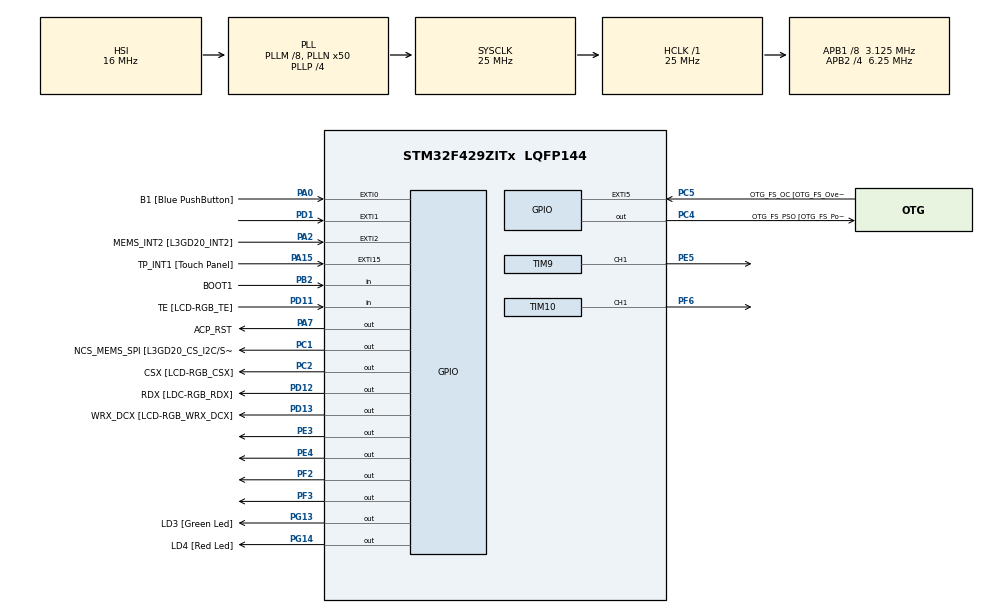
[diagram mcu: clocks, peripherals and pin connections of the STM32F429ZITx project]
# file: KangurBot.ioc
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Mcu.Family=STM32F4
Mcu.Name=STM32F429ZITx
Mcu.Package=LQFP144
NVIC.EXTI1_IRQn=true\:0\:0\:false\:false\:true\:true\:true
NVIC.PriorityGroup=NVIC_PRIORITYGROUP_0
PA0/WKUP.GPIO_Label=B1 [Blue PushButton]
PA0/WKUP.GPIO_ModeDefaultEXTI=GPIO_MODE_EVT_RISING
PA0/WKUP.GPIO_PuPd=GPIO_NOPULL
PA0/WKUP.Signal=GPXTI0
PA10.GPIO_Label=STLINK_TX [STM32F103CBT6_PA2]
PA10.Signal=USART1_RX
PA11.GPIO_Label=R4
PA11.GPIO_Mode=GPIO_MODE_AF_PP
PA11.GPIO_PuPd=GPIO_NOPULL
PA11.GPIO_Speed=GPIO_SPEED_FREQ_LOW
PA11.Signal=LTDC_R4
PA12.GPIO_Label=R5
PA12.GPIO_Mode=GPIO_MODE_AF_PP
PA12.GPIO_PuPd=GPIO_NOPULL
PA12.GPIO_Speed=GPIO_SPEED_FREQ_LOW
PA12.Signal=LTDC_R5
PA13.GPIO_Label=SWDIO
PA13.Mode=Trace_Asynchronous_SW
PA13.Signal=SYS_JTMS-SWDIO
PA14.GPIO_Label=SWCLK
PA14.Mode=Trace_Asynchronous_SW
PA14.Signal=SYS_JTCK-SWCLK
PA15.GPIO_Label=TP_INT1 [Touch Panel]
PA15.GPIO_ModeDefaultEXTI=GPIO_MODE_EVT_RISING
PA15.GPIO_PuPd=GPIO_NOPULL
PA15.Signal=GPXTI15
PA2.GPIO_Label=MEMS_INT2 [L3GD20_INT2]
PA2.GPIO_ModeDefaultEXTI=GPIO_MODE_EVT_RISING
PA2.GPIO_PuPd=GPIO_NOPULL
PA2.Signal=GPXTI2
PA3.GPIO_Label=B5
PA3.GPIO_Mode=GPIO_MODE_AF_PP
PA3.GPIO_PuPd=GPIO_NOPULL
PA3.GPIO_Speed=GPIO_SPEED_FREQ_LOW
PA3.Signal=LTDC_B5
PA4.GPIO_Label=VSYNC
PA4.GPIO_Mode=GPIO_MODE_AF_PP
PA4.GPIO_PuPd=GPIO_NOPULL
PA4.GPIO_Speed=GPIO_SPEED_FREQ_LOW
PA4.Signal=LTDC_VSYNC
PA6.GPIO_Label=G2
PA6.GPIO_Mode=GPIO_MODE_AF_PP
PA6.GPIO_PuPd=GPIO_NOPULL
PA6.GPIO_Speed=GPIO_SPEED_FREQ_LOW
PA6.Signal=LTDC_G2
PA7.GPIO_Label=ACP_RST
PA7.GPIO_Mode=GPIO_MODE_OUTPUT_PP
PA7.GPIO_PuPd=GPIO_NOPULL
PA7.GPIO_Speed=GPIO_SPEED_FREQ_LOW
PA7.Signal=GPIO_Output
PA8.GPIO_Label=I2C3_SCL [ACP/RF_SCL]
PA8.GPIO_Mode=GPIO_MODE_AF_OD
PA8.GPIO_PuPd=GPIO_NOPULL
PA8.GPIO_Speed=GPIO_SPEED_FREQ_LOW
PA8.Signal=I2C3_SCL
PA9.GPIO_Label=STLINK_RX [STM32F103CBT6_PA3]
PA9.Signal=USART1_TX
PB0.GPIO_Label=R3
PB0.GPIO_Mode=GPIO_MODE_AF_PP
PB0.GPIO_PuPd=GPIO_NOPULL
PB0.GPIO_Speed=GPIO_SPEED_FREQ_LOW
PB0.Signal=LTDC_R3
PB1.GPIO_Label=R6
PB1.GPIO_Mode=GPIO_MODE_AF_PP
PB1.GPIO_PuPd=GPIO_NOPULL
PB1.GPIO_Speed=GPIO_SPEED_FREQ_LOW
PB1.Signal=LTDC_R6
PB10.GPIO_Label=G4
PB10.GPIO_Mode=GPIO_MODE_AF_PP
PB10.GPIO_PuPd=GPIO_NOPULL
PB10.GPIO_Speed=GPIO_SPEED_FREQ_LOW
PB10.Signal=LTDC_G4
PB11.GPIO_Label=G5
PB11.GPIO_Mode=GPIO_MODE_AF_PP
PB11.GPIO_PuPd=GPIO_NOPULL
PB11.GPIO_Speed=GPIO_SPEED_FREQ_LOW
PB11.Signal=LTDC_G5
PB12.GPIO_Label=OTG_HS_ID
PB12.GPIO_Mode=GPIO_MODE_AF_PP
PB12.GPIO_PuPd=GPIO_NOPULL
PB12.GPIO_Speed=GPIO_SPEED_FREQ_LOW
PB12.Signal=USB_OTG_HS_ID
PB13.GPIO_Label=VBUS_HS
PB13.GPIO_Mode=GPIO_MODE_INPUT
PB13.GPIO_PuPd=GPIO_NOPULL
PB13.Signal=USB_OTG_HS_VBUS
PB14.GPIO_Label=OTG_HS_DM
PB14.GPIO_Mode=GPIO_MODE_AF_PP
PB14.GPIO_PuPd=GPIO_NOPULL
PB14.GPIO_Speed=GPIO_SPEED_FREQ_LOW
PB14.Signal=USB_OTG_HS_DM
PB15.GPIO_Label=OTG_HS_DP
PB15.GPIO_Mode=GPIO_MODE_AF_PP
PB15.GPIO_PuPd=GPIO_NOPULL
PB15.GPIO_Speed=GPIO_SPEED_FREQ_LOW
PB15.Signal=USB_OTG_HS_DP
PB2/BOOT1.GPIO_Label=BOOT1
PB2/BOOT1.GPIO_Mode=GPIO_MODE_INPUT
PB2/BOOT1.GPIO_PuPd=GPIO_NOPULL
PB2/BOOT1.Signal=GPIO_Input
PB3.Mode=Trace_Asynchronous_SW
PB3.Signal=SYS_JTDO-SWO
PB5.GPIO_Label=SDCKE1
PB5.GPIO_Mode=GPIO_MODE_AF_PP
PB5.GPIO_PuPd=GPIO_NOPULL
PB5.GPIO_Speed=GPIO_SPEED_FREQ_VERY_HIGH
PB5.Signal=FMC_SDCKE1
PB6.GPIO_Label=SDNE1 [SDRAM_CS]
PB6.GPIO_Mode=GPIO_MODE_AF_PP
PB6.GPIO_PuPd=GPIO_NOPULL
PB6.GPIO_Speed=GPIO_SPEED_FREQ_VERY_HIGH
PB6.Signal=FMC_SDNE1
PB8.GPIO_Label=B6
PB8.GPIO_Mode=GPIO_MODE_AF_PP
PB8.GPIO_PuPd=GPIO_NOPULL
PB8.GPIO_Speed=GPIO_SPEED_FREQ_LOW
PB8.Signal=LTDC_B6
PB9.GPIO_Label=B7
PB9.GPIO_Mode=GPIO_MODE_AF_PP
PB9.GPIO_PuPd=GPIO_NOPULL
PB9.GPIO_Speed=GPIO_SPEED_FREQ_LOW
PB9.Signal=LTDC_B7
PC0.GPIO_Label=SDNWE
PC0.GPIO_Mode=GPIO_MODE_AF_PP
PC0.GPIO_PuPd=GPIO_NOPULL
PC0.GPIO_Speed=GPIO_SPEED_FREQ_VERY_HIGH
PC0.Signal=FMC_SDNWE
PC1.GPIO_Label=NCS_MEMS_SPI [L3GD20_CS_I2C/SPI]
PC1.GPIO_Mode=GPIO_MODE_OUTPUT_PP
PC1.GPIO_PuPd=GPIO_NOPULL
PC1.GPIO_Speed=GPIO_SPEED_FREQ_LOW
PC1.Signal=GPIO_Output
PC10.GPIO_Label=R2
PC10.GPIO_Mode=GPIO_MODE_AF_PP
PC10.GPIO_PuPd=GPIO_NOPULL
PC10.GPIO_Speed=GPIO_SPEED_FREQ_LOW
PC10.Signal=LTDC_R2
PC14/OSC32_IN.GPIO_Label=PC14-OSC32_IN
PC14/OSC32_IN.Signal=RCC_OSC32_IN
PC15/OSC32_OUT.GPIO_Label=PC15-OSC32_OUT
PC15/OSC32_OUT.Signal=RCC_OSC32_OUT
PC2.GPIO_Label=CSX [LCD-RGB_CSX]
PC2.GPIO_Mode=GPIO_MODE_OUTPUT_PP
PC2.GPIO_PuPd=GPIO_NOPULL
PC2.GPIO_Speed=GPIO_SPEED_FREQ_LOW
PC2.Signal=GPIO_Output
PC4.GPIO_Label=OTG_FS_PSO [OTG_FS_PowerSwitchOn]
PC4.GPIO_Mode=GPIO_MODE_OUTPUT_PP
PC4.GPIO_PuPd=GPIO_NOPULL
PC4.GPIO_Speed=GPIO_SPEED_FREQ_LOW
PC4.Signal=GPIO_Output
PC5.GPIO_Label=OTG_FS_OC [OTG_FS_OverCurrent]
PC5.GPIO_ModeDefaultEXTI=GPIO_MODE_EVT_RISING
PC5.Signal=GPXTI5
PC6.GPIO_Label=HSYNC
PC6.GPIO_Mode=GPIO_MODE_AF_PP
PC6.GPIO_PuPd=GPIO_NOPULL
PC6.GPIO_Speed=GPIO_SPEED_FREQ_LOW
PC6.Signal=LTDC_HSYNC
PC7.GPIO_Label=G6
PC7.GPIO_Mode=GPIO_MODE_AF_PP
PC7.GPIO_PuPd=GPIO_NOPULL
PC7.GPIO_Speed=GPIO_SPEED_FREQ_LOW
PC7.Signal=LTDC_G6
PC9.GPIO_Label=I2C3_SDA [ACP/RF_SDA]
PC9.GPIO_Mode=GPIO_MODE_AF_OD
PC9.GPIO_PuPd=GPIO_NOPULL
PC9.GPIO_Speed=GPIO_SPEED_FREQ_LOW
PC9.Signal=I2C3_SDA
PD0.GPIO_Label=D2
PD0.GPIO_Mode=GPIO_MODE_AF_PP
PD0.GPIO_PuPd=GPIO_NOPULL
PD0.GPIO_Speed=GPIO_SPEED_FREQ_VERY_HIGH
PD0.Signal=FMC_D2_DA2
PD1.Signal=GPXTI1
PD10.GPIO_Label=D15
PD10.GPIO_Mode=GPIO_MODE_AF_PP
PD10.GPIO_PuPd=GPIO_NOPULL
PD10.GPIO_Speed=GPIO_SPEED_FREQ_VERY_HIGH
PD10.Signal=FMC_D15_DA15
PD11.GPIO_Label=TE [LCD-RGB_TE]
PD11.GPIO_Mode=GPIO_MODE_INPUT
PD11.GPIO_PuPd=GPIO_NOPULL
PD11.Signal=GPIO_Input
PD12.GPIO_Label=RDX [LDC-RGB_RDX]
PD12.GPIO_Mode=GPIO_MODE_OUTPUT_PP
PD12.GPIO_PuPd=GPIO_NOPULL
PD12.GPIO_Speed=GPIO_SPEED_FREQ_LOW
PD12.Signal=GPIO_Output
PD13.GPIO_Label=WRX_DCX [LCD-RGB_WRX_DCX]
PD13.GPIO_Mode=GPIO_MODE_OUTPUT_PP
PD13.GPIO_PuPd=GPIO_NOPULL
PD13.GPIO_Speed=GPIO_SPEED_FREQ_LOW
PD13.Signal=GPIO_Output
PD14.GPIO_Label=D0
PD14.GPIO_Mode=GPIO_MODE_AF_PP
PD14.GPIO_PuPd=GPIO_NOPULL
PD14.GPIO_Speed=GPIO_SPEED_FREQ_VERY_HIGH
PD14.Signal=FMC_D0_DA0
PD15.GPIO_Label=D1
PD15.GPIO_Mode=GPIO_MODE_AF_PP
PD15.GPIO_PuPd=GPIO_NOPULL
PD15.GPIO_Speed=GPIO_SPEED_FREQ_VERY_HIGH
PD15.Signal=FMC_D1_DA1
PD3.GPIO_Label=G7
PD3.GPIO_Mode=GPIO_MODE_AF_PP
PD3.GPIO_PuPd=GPIO_NOPULL
PD3.GPIO_Speed=GPIO_SPEED_FREQ_LOW
PD3.Signal=LTDC_G7
PD6.GPIO_Label=B2
PD6.GPIO_Mode=GPIO_MODE_AF_PP
PD6.GPIO_PuPd=GPIO_NOPULL
PD6.GPIO_Speed=GPIO_SPEED_FREQ_LOW
PD6.Signal=LTDC_B2
PD8.GPIO_Label=D13
PD8.GPIO_Mode=GPIO_MODE_AF_PP
PD8.GPIO_PuPd=GPIO_NOPULL
PD8.GPIO_Speed=GPIO_SPEED_FREQ_VERY_HIGH
PD8.Signal=FMC_D13_DA13
PD9.GPIO_Label=D14
PD9.GPIO_Mode=GPIO_MODE_AF_PP
PD9.GPIO_PuPd=GPIO_NOPULL
PD9.GPIO_Speed=GPIO_SPEED_FREQ_VERY_HIGH
PD9.Signal=FMC_D14_DA14
PE0.GPIO_Label=NBL0 [SDRAM_LDQM]
PE0.GPIO_Mode=GPIO_MODE_AF_PP
PE0.GPIO_PuPd=GPIO_NOPULL
PE0.GPIO_Speed=GPIO_SPEED_FREQ_VERY_HIGH
PE0.Signal=FMC_NBL0
PE1.GPIO_Label=NBL1 [SDRAM_UDQM]
PE1.GPIO_Mode=GPIO_MODE_AF_PP
PE1.GPIO_PuPd=GPIO_NOPULL
PE1.GPIO_Speed=GPIO_SPEED_FREQ_VERY_HIGH
PE1.Signal=FMC_NBL1
PE10.GPIO_Label=D7
PE10.GPIO_Mode=GPIO_MODE_AF_PP
PE10.GPIO_PuPd=GPIO_NOPULL
PE10.GPIO_Speed=GPIO_SPEED_FREQ_VERY_HIGH
PE10.Signal=FMC_D7_DA7
PE11.GPIO_Label=D8
PE11.GPIO_Mode=GPIO_MODE_AF_PP
PE11.GPIO_PuPd=GPIO_NOPULL
PE11.GPIO_Speed=GPIO_SPEED_FREQ_VERY_HIGH
PE11.Signal=FMC_D8_DA8
PE12.GPIO_Label=D9
PE12.GPIO_Mode=GPIO_MODE_AF_PP
PE12.GPIO_PuPd=GPIO_NOPULL
PE12.GPIO_Speed=GPIO_SPEED_FREQ_VERY_HIGH
PE12.Signal=FMC_D9_DA9
PE13.GPIO_Label=D10
PE13.GPIO_Mode=GPIO_MODE_AF_PP
PE13.GPIO_PuPd=GPIO_NOPULL
PE13.GPIO_Speed=GPIO_SPEED_FREQ_VERY_HIGH
PE13.Signal=FMC_D10_DA10
PE14.GPIO_Label=D11
PE14.GPIO_Mode=GPIO_MODE_AF_PP
PE14.GPIO_PuPd=GPIO_NOPULL
PE14.GPIO_Speed=GPIO_SPEED_FREQ_VERY_HIGH
PE14.Signal=FMC_D11_DA11
PE15.GPIO_Label=D12
PE15.GPIO_Mode=GPIO_MODE_AF_PP
PE15.GPIO_PuPd=GPIO_NOPULL
PE15.GPIO_Speed=GPIO_SPEED_FREQ_VERY_HIGH
PE15.Signal=FMC_D12_DA12
PE3.Signal=GPIO_Output
PE4.Signal=GPIO_Output
PE5.Signal=S_TIM9_CH1
PE7.GPIO_Label=D4
PE7.GPIO_Mode=GPIO_MODE_AF_PP
PE7.GPIO_PuPd=GPIO_NOPULL
PE7.GPIO_Speed=GPIO_SPEED_FREQ_VERY_HIGH
PE7.Signal=FMC_D4_DA4
PE8.GPIO_Label=D5
PE8.GPIO_Mode=GPIO_MODE_AF_PP
PE8.GPIO_PuPd=GPIO_NOPULL
PE8.GPIO_Speed=GPIO_SPEED_FREQ_VERY_HIGH
PE8.Signal=FMC_D5_DA5
PE9.GPIO_Label=D6
PE9.GPIO_Mode=GPIO_MODE_AF_PP
PE9.GPIO_PuPd=GPIO_NOPULL
PE9.GPIO_Speed=GPIO_SPEED_FREQ_VERY_HIGH
PE9.Signal=FMC_D6_DA6
PF0.GPIO_Label=A0
PF0.GPIO_Mode=GPIO_MODE_AF_PP
PF0.GPIO_PuPd=GPIO_NOPULL
PF0.GPIO_Speed=GPIO_SPEED_FREQ_VERY_HIGH
PF0.Signal=FMC_A0
PF1.GPIO_Label=A1
PF1.GPIO_Mode=GPIO_MODE_AF_PP
PF1.GPIO_PuPd=GPIO_NOPULL
PF1.GPIO_Speed=GPIO_SPEED_FREQ_VERY_HIGH
PF1.Signal=FMC_A1
PF10.GPIO_Label=ENABLE [LCD-RGB_ENABLE]
PF10.GPIO_Mode=GPIO_MODE_AF_PP
PF10.GPIO_PuPd=GPIO_NOPULL
PF10.GPIO_Speed=GPIO_SPEED_FREQ_LOW
PF10.Signal=LTDC_DE
PF11.GPIO_Label=SDNRAS
PF11.GPIO_Mode=GPIO_MODE_AF_PP
PF11.GPIO_PuPd=GPIO_NOPULL
PF11.GPIO_Speed=GPIO_SPEED_FREQ_VERY_HIGH
PF11.Signal=FMC_SDNRAS
PF12.GPIO_Label=A6
PF12.GPIO_Mode=GPIO_MODE_AF_PP
PF12.GPIO_PuPd=GPIO_NOPULL
PF12.GPIO_Speed=GPIO_SPEED_FREQ_VERY_HIGH
PF12.Signal=FMC_A6
PF13.GPIO_Label=A7
PF13.GPIO_Mode=GPIO_MODE_AF_PP
PF13.GPIO_PuPd=GPIO_NOPULL
PF13.GPIO_Speed=GPIO_SPEED_FREQ_VERY_HIGH
PF13.Signal=FMC_A7
PF14.GPIO_Label=A8
PF14.GPIO_Mode=GPIO_MODE_AF_PP
PF14.GPIO_PuPd=GPIO_NOPULL
PF14.GPIO_Speed=GPIO_SPEED_FREQ_VERY_HIGH
PF14.Signal=FMC_A8
PF15.GPIO_Label=A9
PF15.GPIO_Mode=GPIO_MODE_AF_PP
PF15.GPIO_PuPd=GPIO_NOPULL
PF15.GPIO_Speed=GPIO_SPEED_FREQ_VERY_HIGH
PF15.Signal=FMC_A9
PF2.Signal=GPIO_Output
PF3.Signal=GPIO_Output
PF4.GPIO_Label=A4
PF4.GPIO_Mode=GPIO_MODE_AF_PP
PF4.GPIO_PuPd=GPIO_NOPULL
PF4.GPIO_Speed=GPIO_SPEED_FREQ_VERY_HIGH
PF4.Signal=FMC_A4
PF5.GPIO_Label=A5
PF5.GPIO_Mode=GPIO_MODE_AF_PP
PF5.GPIO_PuPd=GPIO_NOPULL
PF5.GPIO_Speed=GPIO_SPEED_FREQ_VERY_HIGH
PF5.Signal=FMC_A5
PF6.Signal=S_TIM10_CH1
PF7.GPIO_Label=SPI5_SCK [L3GD20_SCL/SPC]
PF7.GPIO_Mode=GPIO_MODE_AF_PP
PF7.GPIO_PuPd=GPIO_NOPULL
PF7.GPIO_Speed=GPIO_SPEED_FREQ_LOW
PF7.Signal=SPI5_SCK
PF8.GPIO_Label=SPI5_MISO [L3GD20_SDO]
PF8.GPIO_Mode=GPIO_MODE_AF_PP
PF8.GPIO_PuPd=GPIO_NOPULL
PF8.GPIO_Speed=GPIO_SPEED_FREQ_LOW
PF8.Signal=SPI5_MISO
PF9.GPIO_Label=SPI5_MOSI [L3GD20_SDA/SDI/SDO]
PF9.GPIO_Mode=GPIO_MODE_AF_PP
PF9.GPIO_PuPd=GPIO_NOPULL
PF9.GPIO_Speed=GPIO_SPEED_FREQ_LOW
PF9.Signal=SPI5_MOSI
PG0.GPIO_Label=A10
PG0.GPIO_Mode=GPIO_MODE_AF_PP
PG0.GPIO_PuPd=GPIO_NOPULL
PG0.GPIO_Speed=GPIO_SPEED_FREQ_VERY_HIGH
PG0.Signal=FMC_A10
PG1.GPIO_Label=A11
PG1.GPIO_Mode=GPIO_MODE_AF_PP
PG1.GPIO_PuPd=GPIO_NOPULL
PG1.GPIO_Speed=GPIO_SPEED_FREQ_VERY_HIGH
PG1.Signal=FMC_A11
PG10.GPIO_Label=G3
PG10.GPIO_Mode=GPIO_MODE_AF_PP
PG10.GPIO_PuPd=GPIO_NOPULL
PG10.GPIO_Speed=GPIO_SPEED_FREQ_LOW
PG10.Signal=LTDC_G3
PG11.GPIO_Label=B3
PG11.GPIO_Mode=GPIO_MODE_AF_PP
PG11.GPIO_PuPd=GPIO_NOPULL
PG11.GPIO_Speed=GPIO_SPEED_FREQ_LOW
PG11.Signal=LTDC_B3
PG12.GPIO_Label=B4
PG12.GPIO_Mode=GPIO_MODE_AF_PP
PG12.GPIO_PuPd=GPIO_NOPULL
PG12.GPIO_Speed=GPIO_SPEED_FREQ_LOW
PG12.Signal=LTDC_B4
PG13.GPIO_Label=LD3 [Green Led]
PG13.GPIO_Mode=GPIO_MODE_OUTPUT_PP
PG13.GPIO_PuPd=GPIO_NOPULL
PG13.GPIO_Speed=GPIO_SPEED_FREQ_LOW
PG13.Signal=GPIO_Output
PG14.GPIO_Label=LD4 [Red Led]
PG14.GPIO_Mode=GPIO_MODE_OUTPUT_PP
PG14.GPIO_PuPd=GPIO_NOPULL
PG14.GPIO_Speed=GPIO_SPEED_FREQ_LOW
PG14.Signal=GPIO_Output
PG15.GPIO_Label=SDNCAS
PG15.GPIO_Mode=GPIO_MODE_AF_PP
PG15.GPIO_PuPd=GPIO_NOPULL
PG15.GPIO_Speed=GPIO_SPEED_FREQ_VERY_HIGH
PG15.Signal=FMC_SDNCAS
PG4.GPIO_Label=BA0
PG4.GPIO_Mode=GPIO_MODE_AF_PP
PG4.GPIO_PuPd=GPIO_NOPULL
PG4.GPIO_Speed=GPIO_SPEED_FREQ_VERY_HIGH
PG4.Signal=FMC_A14_BA0
PG5.GPIO_Label=BA1
PG5.GPIO_Mode=GPIO_MODE_AF_PP
PG5.GPIO_PuPd=GPIO_NOPULL
PG5.GPIO_Speed=GPIO_SPEED_FREQ_VERY_HIGH
PG5.Signal=FMC_A15_BA1
PG6.GPIO_Label=R7
PG6.GPIO_Mode=GPIO_MODE_AF_PP
PG6.GPIO_PuPd=GPIO_NOPULL
PG6.GPIO_Speed=GPIO_SPEED_FREQ_LOW
PG6.Signal=LTDC_R7
PG7.GPIO_Label=DOTCLK [LCT-RGB_DOTCLK]
PG7.GPIO_Mode=GPIO_MODE_AF_PP
PG7.GPIO_PuPd=GPIO_NOPULL
PG7.GPIO_Speed=GPIO_SPEED_FREQ_LOW
PG7.Signal=LTDC_CLK
PG8.GPIO_Label=SDCLK
PG8.GPIO_Mode=GPIO_MODE_AF_PP
PG8.GPIO_PuPd=GPIO_NOPULL
PG8.GPIO_Speed=GPIO_SPEED_FREQ_VERY_HIGH
PG8.Signal=FMC_SDCLK
PH0/OSC_IN.GPIO_Label=PH0-OSC_IN
PH0/OSC_IN.Signal=RCC_OSC_IN
PH1/OSC_OUT.GPIO_Label=PH1-OSC_OUT
PH1/OSC_OUT.Signal=RCC_OSC_OUT
ProjectManager.HeapSize=0x200
ProjectManager.StackSize=0x400
ProjectManager.TargetToolchain=STM32CubeIDE
RCC.48MHZClocksFreq_Value=14285714.285714285
RCC.AHBFreq_Value=25000000
RCC.APB1CLKDivider=RCC_HCLK_DIV8
RCC.APB1Freq_Value=3125000
RCC.APB1TimFreq_Value=6250000
RCC.APB2CLKDivider=RCC_HCLK_DIV4
RCC.APB2Freq_Value=6250000
RCC.APB2TimFreq_Value=12500000
RCC.CortexFreq_Value=25000000
RCC.HCLKFreq_Value=25000000
RCC.HSE_VALUE=8000000
RCC.HSI_VALUE=16000000
RCC.LSE_VALUE=32768
RCC.PLLM=8
RCC.PLLN=50
RCC.PLLP=RCC_PLLP_DIV4
RCC.PLLQ=7
RCC.SYSCLKFreq_VALUE=25000000
RCC.SYSCLKSource=RCC_SYSCLKSOURCE_PLLCLK
RCC.VCOOutputFreq_Value=100000000
SH.FMC_A0.0=FMC_A0
SH.FMC_A1.0=FMC_A1
SH.FMC_A10.0=FMC_A10
SH.FMC_A11.0=FMC_A11
SH.FMC_A14_BA0.0=FMC_BA0
SH.FMC_A15_BA1.0=FMC_BA1
SH.FMC_A4.0=FMC_A4
SH.FMC_A5.0=FMC_A5
SH.FMC_A6.0=FMC_A6
SH.FMC_A7.0=FMC_A7
SH.FMC_A8.0=FMC_A8
SH.FMC_A9.0=FMC_A9
SH.FMC_D0_DA0.0=FMC_D0
SH.FMC_D10_DA10.0=FMC_D10
SH.FMC_D11_DA11.0=FMC_D11
SH.FMC_D12_DA12.0=FMC_D12
SH.FMC_D13_DA13.0=FMC_D13
SH.FMC_D14_DA14.0=FMC_D14
SH.FMC_D15_DA15.0=FMC_D15
SH.FMC_D1_DA1.0=FMC_D1
SH.FMC_D2_DA2.0=FMC_D2
SH.FMC_D4_DA4.0=FMC_D4
SH.FMC_D5_DA5.0=FMC_D5
SH.FMC_D6_DA6.0=FMC_D6
SH.FMC_D7_DA7.0=FMC_D7
SH.FMC_D8_DA8.0=FMC_D8
SH.FMC_D9_DA9.0=FMC_D9
SH.FMC_NBL0.0=FMC_NBL0
SH.FMC_NBL1.0=FMC_NBL1
SH.FMC_SDCLK.0=FMC_SDCLK
SH.FMC_SDNCAS.0=FMC_SDNCAS
SH.FMC_SDNRAS.0=FMC_SDNRAS
SH.FMC_SDNWE.0=FMC_SDNWE
SH.S_TIM10_CH1.0=TIM10_CH1,PWM Generation1 CH1
SH.S_TIM9_CH1.0=TIM9_CH1,PWM Generation1 CH1
TIM10.Channel=TIM_CHANNEL_1
TIM3.Prescaler=1000
TIM9.Channel-PWM\ Generation1\ CH1=TIM_CHANNEL_1
TIM9.Period=2000-1
TIM9.Prescaler=1080-1
VP_TIM10_VS_ClockSourceINT.Mode=Enable_Timer
VP_TIM3_VS_ClockSourceINT.Mode=Internal
board=STM32F429I-DISC1

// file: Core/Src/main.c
/* USER CODE BEGIN Header */
/**
  ******************************************************************************
  * @file           : main.c
  * @brief          : Main program body
  ******************************************************************************
  * @attention
  *
  * <h2><center>&copy; Copyright (c) 2021 STMicroelectronics.
  * All rights reserved.</center></h2>
  *
  * This software component is licensed by ST under BSD 3-Clause license,
  * the "License"; You may not use this file except in compliance with the
  * License. You may obtain a copy of the License at:
  *                        opensource.org/licenses/BSD-3-Clause
  *
  ******************************************************************************
  */
/* USER CODE END Header */
#include "main.h"

TIM_HandleTypeDef htim3;
TIM_HandleTypeDef htim9;
TIM_HandleTypeDef htim10;

void SystemClock_Config(void);
static void MX_GPIO_Init(void);
static void MX_TIM3_Init(void);
static void MX_TIM9_Init(void);
static void MX_TIM10_Init(void);

typedef enum
{
  WAITING_FOR_FIRST_EDGE = 0,
  COUNTING_FIRST_PART,
  PAUSE_BETWEEN,
  COUNTING_SECOND_PART,
} IrReadingState;

typedef enum {
	NONE = 0,
	FAILURE = 1,
	RELEASE = 3,
	VOLUME_UP = 4,
	VOLUME_DOWN = 5,
	UP = 6,
	DOWN = 7,
	MUTE = 8,
	RIGHT = 9,
	LEFT = 10,
	SOURCE = 11,
} IRCode;

IrReadingState irState  = WAITING_FOR_FIRST_EDGE;
uint16_t firstPart;
uint16_t pause;
uint16_t secondPart;
IRCode irCode = NONE;

void HAL_GPIO_EXTI_Callback(uint16_t GPIO_Pin)
{
	// TODO check if raising or falling edge, each time
	if (irState == WAITING_FOR_FIRST_EDGE) {
		TIM3->CNT = 0;
	    irState = COUNTING_FIRST_PART;
	    irCode = NONE;
	} else if (irState == COUNTING_FIRST_PART) {
		firstPart = TIM3->CNT;
		TIM3->CNT = 0;
		irState = PAUSE_BETWEEN;
		irCode = NONE;
	} else if (irState == PAUSE_BETWEEN) {
		pause = TIM3->CNT;

		int16_t difference = abs((int16_t)firstPart - (int16_t)pause);
		if (difference < 20) { // TODO calibrate
			TIM3->CNT = 0;
			irState = COUNTING_SECOND_PART;
			irCode = NONE;
		} else {
			// Something went wrong. Reset data receiving.
			irState = WAITING_FOR_FIRST_EDGE;
			irCode = FAILURE;
		}
	} else if (irState == COUNTING_SECOND_PART) {
		secondPart = TIM3->CNT;
		irState = WAITING_FOR_FIRST_EDGE;
		irCode = firstPart/secondPart;
	} else {
		irState = WAITING_FOR_FIRST_EDGE;
		irCode = FAILURE;
	}
}

/**
 * @param value from 0 to 2000
 */
void setLeftMotorPwmValue(uint16_t value)
{
	__HAL_TIM_SET_COMPARE(&htim9, TIM_CHANNEL_1, value);
}

/**
 * @param value from 0 to 2000
 */
void setRightMotorPwmValue(uint16_t value)
{
	__HAL_TIM_SET_COMPARE(&htim10, TIM_CHANNEL_1, value);
}

typedef enum
{
  BACKWARD = 0,
  FORWARD
} MotorDirection;

void setLeftMotorDirection(MotorDirection direction)
{
	HAL_GPIO_WritePin(GPIOF, GPIO_PIN_2, 1 - direction);
	HAL_GPIO_WritePin(GPIOF, GPIO_PIN_3, direction);
}

void setRightMotorDirection(MotorDirection direction)
{
	HAL_GPIO_WritePin(GPIOE, GPIO_PIN_4, 1 - direction);
	HAL_GPIO_WritePin(GPIOE, GPIO_PIN_3, direction);
}

/**
 * @param speed value from -2000 to 2000
 */
void setLeftMotorSpeed(int16_t speed) {
	setLeftMotorDirection(speed >= 0 ? FORWARD : BACKWARD);
	setLeftMotorPwmValue(abs(speed));
}

/**
 * @param speed value from -2000 to 2000
 */
void setRightMotorSpeed(int16_t speed) {
	setRightMotorDirection(speed >= 0 ? FORWARD : BACKWARD);
	setRightMotorPwmValue(abs(speed));
}

/* USER CODE END 0 */

int main(void)
{

  /* MCU Configuration--------------------------------------------------------*/

  /* Reset of all peripherals, Initializes the Flash interface and the Systick. */

  HAL_Init();

  /* Configure the system clock */
  SystemClock_Config();

  /* Initialize all configured peripherals */
  MX_GPIO_Init();
  MX_TIM9_Init();
  MX_TIM10_Init();
  MX_TIM3_Init();

  /* Infinite loop */
  /* USER CODE BEGIN WHILE */

  while (1)
  {
	  IRCode thisIrCode = irCode;
	  irCode = NONE;

	  if (thisIrCode == UP) {
		  HAL_GPIO_WritePin(GPIOG, GPIO_PIN_13, GPIO_PIN_SET);
		  setLeftMotorSpeed(1800);
		  setRightMotorSpeed(1800);
		  HAL_Delay(200);
	  } else if (thisIrCode == DOWN) {
		  HAL_GPIO_WritePin(GPIOG, GPIO_PIN_13, GPIO_PIN_SET);
		  setLeftMotorSpeed(-1800);
		  setRightMotorSpeed(-1800);
		  HAL_Delay(200);
	  } else if (thisIrCode == LEFT) {
		  HAL_GPIO_WritePin(GPIOG, GPIO_PIN_13, GPIO_PIN_SET);
		  setLeftMotorSpeed(-1800);
		  setRightMotorSpeed(1800);
		  HAL_Delay(200);
	  } else if (thisIrCode == RIGHT) {
		  HAL_GPIO_WritePin(GPIOG, GPIO_PIN_13, GPIO_PIN_SET);
		  setLeftMotorSpeed(1800);
		  setRightMotorSpeed(-1800);
		  HAL_Delay(200);
	  } else if (thisIrCode == VOLUME_UP) {
		  HAL_GPIO_WritePin(GPIOG, GPIO_PIN_13, GPIO_PIN_SET);
		  setLeftMotorSpeed(1400);
		  setRightMotorSpeed(1400);
		  HAL_Delay(200);
	  } else if (thisIrCode == VOLUME_DOWN) {
		  HAL_GPIO_WritePin(GPIOG, GPIO_PIN_13, GPIO_PIN_SET);
		  setLeftMotorSpeed(-1400);
		  setRightMotorSpeed(-1400);
		  HAL_Delay(200);
	  } else {
		  HAL_GPIO_WritePin(GPIOG, GPIO_PIN_13, GPIO_PIN_RESET);
		  setLeftMotorSpeed(0);
		  setRightMotorSpeed(0);
	  }
    /* USER CODE END WHILE */

  }
}

void SystemClock_Config(void)
{
  RCC_OscInitTypeDef RCC_OscInitStruct = {0};
  RCC_ClkInitTypeDef RCC_ClkInitStruct = {0};

  /** Configure the main internal regulator output voltage
  */
  __HAL_RCC_PWR_CLK_ENABLE();
  __HAL_PWR_VOLTAGESCALING_CONFIG(PWR_REGULATOR_VOLTAGE_SCALE3);
  /** Initializes the RCC Oscillators according to the specified parameters
  * in the RCC_OscInitTypeDef structure.
  */
  RCC_OscInitStruct.OscillatorType = RCC_OSCILLATORTYPE_HSI;
  RCC_OscInitStruct.HSIState = RCC_HSI_ON;
  RCC_OscInitStruct.HSICalibrationValue = RCC_HSICALIBRATION_DEFAULT;
  RCC_OscInitStruct.PLL.PLLState = RCC_PLL_ON;
  RCC_OscInitStruct.PLL.PLLSource = RCC_PLLSOURCE_HSI;
  RCC_OscInitStruct.PLL.PLLM = 8;
  RCC_OscInitStruct.PLL.PLLN = 50;
  RCC_OscInitStruct.PLL.PLLP = RCC_PLLP_DIV4;
  RCC_OscInitStruct.PLL.PLLQ = 7;
  if (HAL_RCC_OscConfig(&RCC_OscInitStruct) != HAL_OK)
  {
    Error_Handler();
  }
  /** Initializes the CPU, AHB and APB buses clocks
  */
  RCC_ClkInitStruct.ClockType = RCC_CLOCKTYPE_HCLK|RCC_CLOCKTYPE_SYSCLK
                              |RCC_CLOCKTYPE_PCLK1|RCC_CLOCKTYPE_PCLK2;
  RCC_ClkInitStruct.SYSCLKSource = RCC_SYSCLKSOURCE_PLLCLK;
  RCC_ClkInitStruct.AHBCLKDivider = RCC_SYSCLK_DIV1;
  RCC_ClkInitStruct.APB1CLKDivider = RCC_HCLK_DIV8;
  RCC_ClkInitStruct.APB2CLKDivider = RCC_HCLK_DIV4;

  if (HAL_RCC_ClockConfig(&RCC_ClkInitStruct, FLASH_LATENCY_0) != HAL_OK)
  {
    Error_Handler();
  }
}

static void MX_TIM3_Init(void)
{

  TIM_ClockConfigTypeDef sClockSourceConfig = {0};
  TIM_MasterConfigTypeDef sMasterConfig = {0};

  htim3.Instance = TIM3;
  htim3.Init.Prescaler = 100;
  htim3.Init.CounterMode = TIM_COUNTERMODE_UP;
  htim3.Init.Period = 65535;
  htim3.Init.ClockDivision = TIM_CLOCKDIVISION_DIV1;
  htim3.Init.AutoReloadPreload = TIM_AUTORELOAD_PRELOAD_DISABLE;
  if (HAL_TIM_Base_Init(&htim3) != HAL_OK)
  {
    Error_Handler();
  }
  sClockSourceConfig.ClockSource = TIM_CLOCKSOURCE_INTERNAL;
  if (HAL_TIM_ConfigClockSource(&htim3, &sClockSourceConfig) != HAL_OK)
  {
    Error_Handler();
  }
  sMasterConfig.MasterOutputTrigger = TIM_TRGO_RESET;
  sMasterConfig.MasterSlaveMode = TIM_MASTERSLAVEMODE_DISABLE;
  if (HAL_TIMEx_MasterConfigSynchronization(&htim3, &sMasterConfig) != HAL_OK)
  {
    Error_Handler();
  }
  /* USER CODE BEGIN TIM3_Init 2 */
  HAL_TIM_Base_Start(&htim3);
  /* USER CODE END TIM3_Init 2 */

}

static void MX_TIM9_Init(void)
{

  /* USER CODE BEGIN TIM9_Init 0 */
  __HAL_RCC_TIM9_CLK_ENABLE();

  /* USER CODE END TIM9_Init 0 */

  TIM_OC_InitTypeDef sConfigOC = {0};

  htim9.Instance = TIM9;
  htim9.Init.Prescaler = 0;
  htim9.Init.CounterMode = TIM_COUNTERMODE_UP;
  htim9.Init.Period = 2000;
  htim9.Init.ClockDivision = TIM_CLOCKDIVISION_DIV1;
  htim9.Init.AutoReloadPreload = TIM_AUTORELOAD_PRELOAD_DISABLE;
  if (HAL_TIM_PWM_Init(&htim9) != HAL_OK)
  {
    Error_Handler();
  }
  sConfigOC.OCMode = TIM_OCMODE_PWM1;
  sConfigOC.Pulse = 0;
  sConfigOC.OCPolarity = TIM_OCPOLARITY_HIGH;
  sConfigOC.OCFastMode = TIM_OCFAST_DISABLE;
  if (HAL_TIM_PWM_ConfigChannel(&htim9, &sConfigOC, TIM_CHANNEL_1) != HAL_OK)
  {
    Error_Handler();
  }
  /* USER CODE BEGIN TIM9_Init 2 */
  HAL_TIM_PWM_Start(&htim9, TIM_CHANNEL_1);
  /* USER CODE END TIM9_Init 2 */
  HAL_TIM_MspPostInit(&htim9);

}

static void MX_TIM10_Init(void)
{

  TIM_OC_InitTypeDef sConfigOC = {0};

  htim10.Instance = TIM10;
  htim10.Init.Prescaler = 0;
  htim10.Init.CounterMode = TIM_COUNTERMODE_UP;
  htim10.Init.Period = 2000;
  htim10.Init.ClockDivision = TIM_CLOCKDIVISION_DIV1;
  htim10.Init.AutoReloadPreload = TIM_AUTORELOAD_PRELOAD_DISABLE;
  if (HAL_TIM_Base_Init(&htim10) != HAL_OK)
  {
    Error_Handler();
  }
  if (HAL_TIM_PWM_Init(&htim10) != HAL_OK)
  {
    Error_Handler();
  }
  sConfigOC.OCMode = TIM_OCMODE_PWM1;
  sConfigOC.Pulse = 0;
  sConfigOC.OCPolarity = TIM_OCPOLARITY_HIGH;
  sConfigOC.OCFastMode = TIM_OCFAST_DISABLE;
  if (HAL_TIM_PWM_ConfigChannel(&htim10, &sConfigOC, TIM_CHANNEL_1) != HAL_OK)
  {
    Error_Handler();
  }
  /* USER CODE BEGIN TIM10_Init 2 */
  HAL_TIM_PWM_Start(&htim10, TIM_CHANNEL_1);
  /* USER CODE END TIM10_Init 2 */
  HAL_TIM_MspPostInit(&htim10);

}

static void MX_GPIO_Init(void)
{
  GPIO_InitTypeDef GPIO_InitStruct = {0};

  /* GPIO Ports Clock Enable */
  __HAL_RCC_GPIOE_CLK_ENABLE();
  __HAL_RCC_GPIOC_CLK_ENABLE();
  __HAL_RCC_GPIOF_CLK_ENABLE();
  __HAL_RCC_GPIOH_CLK_ENABLE();
  __HAL_RCC_GPIOA_CLK_ENABLE();
  __HAL_RCC_GPIOB_CLK_ENABLE();
  __HAL_RCC_GPIOG_CLK_ENABLE();
  __HAL_RCC_GPIOD_CLK_ENABLE();

  /*Configure GPIO pin Output Level */
  HAL_GPIO_WritePin(GPIOE, GPIO_PIN_3|GPIO_PIN_4, GPIO_PIN_RESET);

  /*Configure GPIO pin Output Level */
  HAL_GPIO_WritePin(GPIOF, GPIO_PIN_2|GPIO_PIN_3, GPIO_PIN_RESET);

  /*Configure GPIO pin Output Level */
  HAL_GPIO_WritePin(GPIOC, NCS_MEMS_SPI_Pin|CSX_Pin|OTG_FS_PSO_Pin, GPIO_PIN_RESET);

  /*Configure GPIO pin Output Level */
  HAL_GPIO_WritePin(ACP_RST_GPIO_Port, ACP_RST_Pin, GPIO_PIN_RESET);

  /*Configure GPIO pin Output Level */
  HAL_GPIO_WritePin(GPIOD, RDX_Pin|WRX_DCX_Pin, GPIO_PIN_RESET);

  /*Configure GPIO pin Output Level */
  HAL_GPIO_WritePin(GPIOG, LD3_Pin|LD4_Pin, GPIO_PIN_RESET);

  /*Configure GPIO pins : PE3 PE4 */
  GPIO_InitStruct.Pin = GPIO_PIN_3|GPIO_PIN_4;
  GPIO_InitStruct.Mode = GPIO_MODE_OUTPUT_PP;
  GPIO_InitStruct.Pull = GPIO_NOPULL;
  GPIO_InitStruct.Speed = GPIO_SPEED_FREQ_LOW;
  HAL_GPIO_Init(GPIOE, &GPIO_InitStruct);

  /*Configure GPIO pins : A0_Pin A1_Pin A4_Pin A5_Pin
                           SDNRAS_Pin A6_Pin A7_Pin A8_Pin
                           A9_Pin */
  GPIO_InitStruct.Pin = A0_Pin|A1_Pin|A4_Pin|A5_Pin
                          |SDNRAS_Pin|A6_Pin|A7_Pin|A8_Pin
                          |A9_Pin;
  GPIO_InitStruct.Mode = GPIO_MODE_AF_PP;
  GPIO_InitStruct.Pull = GPIO_NOPULL;
  GPIO_InitStruct.Speed = GPIO_SPEED_FREQ_VERY_HIGH;
  GPIO_InitStruct.Alternate = GPIO_AF12_FMC;
  HAL_GPIO_Init(GPIOF, &GPIO_InitStruct);

  /*Configure GPIO pins : PF2 PF3 */
  GPIO_InitStruct.Pin = GPIO_PIN_2|GPIO_PIN_3;
  GPIO_InitStruct.Mode = GPIO_MODE_OUTPUT_PP;
  GPIO_InitStruct.Pull = GPIO_NOPULL;
  GPIO_InitStruct.Speed = GPIO_SPEED_FREQ_LOW;
  HAL_GPIO_Init(GPIOF, &GPIO_InitStruct);

  /*Configure GPIO pins : SPI5_SCK_Pin SPI5_MISO_Pin SPI5_MOSI_Pin */
  GPIO_InitStruct.Pin = SPI5_SCK_Pin|SPI5_MISO_Pin|SPI5_MOSI_Pin;
  GPIO_InitStruct.Mode = GPIO_MODE_AF_PP;
  GPIO_InitStruct.Pull = GPIO_NOPULL;
  GPIO_InitStruct.Speed = GPIO_SPEED_FREQ_LOW;
  GPIO_InitStruct.Alternate = GPIO_AF5_SPI5;
  HAL_GPIO_Init(GPIOF, &GPIO_InitStruct);

  /*Configure GPIO pin : ENABLE_Pin */
  GPIO_InitStruct.Pin = ENABLE_Pin;
  GPIO_InitStruct.Mode = GPIO_MODE_AF_PP;
  GPIO_InitStruct.Pull = GPIO_NOPULL;
  GPIO_InitStruct.Speed = GPIO_SPEED_FREQ_LOW;
  GPIO_InitStruct.Alternate = GPIO_AF14_LTDC;
  HAL_GPIO_Init(ENABLE_GPIO_Port, &GPIO_InitStruct);

  /*Configure GPIO pin : SDNWE_Pin */
  GPIO_InitStruct.Pin = SDNWE_Pin;
  GPIO_InitStruct.Mode = GPIO_MODE_AF_PP;
  GPIO_InitStruct.Pull = GPIO_NOPULL;
  GPIO_InitStruct.Speed = GPIO_SPEED_FREQ_VERY_HIGH;
  GPIO_InitStruct.Alternate = GPIO_AF12_FMC;
  HAL_GPIO_Init(SDNWE_GPIO_Port, &GPIO_InitStruct);

  /*Configure GPIO pins : NCS_MEMS_SPI_Pin CSX_Pin OTG_FS_PSO_Pin */
  GPIO_InitStruct.Pin = NCS_MEMS_SPI_Pin|CSX_Pin|OTG_FS_PSO_Pin;
  GPIO_InitStruct.Mode = GPIO_MODE_OUTPUT_PP;
  GPIO_InitStruct.Pull = GPIO_NOPULL;
  GPIO_InitStruct.Speed = GPIO_SPEED_FREQ_LOW;
  HAL_GPIO_Init(GPIOC, &GPIO_InitStruct);

  /*Configure GPIO pins : B1_Pin MEMS_INT2_Pin TP_INT1_Pin */
  GPIO_InitStruct.Pin = B1_Pin|MEMS_INT2_Pin|TP_INT1_Pin;
  GPIO_InitStruct.Mode = GPIO_MODE_EVT_RISING;
  GPIO_InitStruct.Pull = GPIO_NOPULL;
  HAL_GPIO_Init(GPIOA, &GPIO_InitStruct);

  /*Configure GPIO pins : B5_Pin VSYNC_Pin G2_Pin R4_Pin
                           R5_Pin */
  GPIO_InitStruct.Pin = B5_Pin|VSYNC_Pin|G2_Pin|R4_Pin
                          |R5_Pin;
  GPIO_InitStruct.Mode = GPIO_MODE_AF_PP;
  GPIO_InitStruct.Pull = GPIO_NOPULL;
  GPIO_InitStruct.Speed = GPIO_SPEED_FREQ_LOW;
  GPIO_InitStruct.Alternate = GPIO_AF14_LTDC;
  HAL_GPIO_Init(GPIOA, &GPIO_InitStruct);

  /*Configure GPIO pin : ACP_RST_Pin */
  GPIO_InitStruct.Pin = ACP_RST_Pin;
  GPIO_InitStruct.Mode = GPIO_MODE_OUTPUT_PP;
  GPIO_InitStruct.Pull = GPIO_NOPULL;
  GPIO_InitStruct.Speed = GPIO_SPEED_FREQ_LOW;
  HAL_GPIO_Init(ACP_RST_GPIO_Port, &GPIO_InitStruct);

  /*Configure GPIO pin : OTG_FS_OC_Pin */
  GPIO_InitStruct.Pin = OTG_FS_OC_Pin;
  GPIO_InitStruct.Mode = GPIO_MODE_EVT_RISING;
  GPIO_InitStruct.Pull = GPIO_NOPULL;
  HAL_GPIO_Init(OTG_FS_OC_GPIO_Port, &GPIO_InitStruct);

  /*Configure GPIO pins : R3_Pin R6_Pin */
  GPIO_InitStruct.Pin = R3_Pin|R6_Pin;
  GPIO_InitStruct.Mode = GPIO_MODE_AF_PP;
  GPIO_InitStruct.Pull = GPIO_NOPULL;
  GPIO_InitStruct.Speed = GPIO_SPEED_FREQ_LOW;
  GPIO_InitStruct.Alternate = GPIO_AF9_LTDC;
  HAL_GPIO_Init(GPIOB, &GPIO_InitStruct);

  /*Configure GPIO pin : BOOT1_Pin */
  GPIO_InitStruct.Pin = BOOT1_Pin;
  GPIO_InitStruct.Mode = GPIO_MODE_INPUT;
  GPIO_InitStruct.Pull = GPIO_NOPULL;
  HAL_GPIO_Init(BOOT1_GPIO_Port, &GPIO_InitStruct);

  /*Configure GPIO pins : A10_Pin A11_Pin BA0_Pin BA1_Pin
                           SDCLK_Pin SDNCAS_Pin */
  GPIO_InitStruct.Pin = A10_Pin|A11_Pin|BA0_Pin|BA1_Pin
                          |SDCLK_Pin|SDNCAS_Pin;
  GPIO_InitStruct.Mode = GPIO_MODE_AF_PP;
  GPIO_InitStruct.Pull = GPIO_NOPULL;
  GPIO_InitStruct.Speed = GPIO_SPEED_FREQ_VERY_HIGH;
  GPIO_InitStruct.Alternate = GPIO_AF12_FMC;
  HAL_GPIO_Init(GPIOG, &GPIO_InitStruct);

  /*Configure GPIO pins : D4_Pin D5_Pin D6_Pin D7_Pin
                           D8_Pin D9_Pin D10_Pin D11_Pin
                           D12_Pin NBL0_Pin NBL1_Pin */
  GPIO_InitStruct.Pin = D4_Pin|D5_Pin|D6_Pin|D7_Pin
                          |D8_Pin|D9_Pin|D10_Pin|D11_Pin
                          |D12_Pin|NBL0_Pin|NBL1_Pin;
  GPIO_InitStruct.Mode = GPIO_MODE_AF_PP;
  GPIO_InitStruct.Pull = GPIO_NOPULL;
  GPIO_InitStruct.Speed = GPIO_SPEED_FREQ_VERY_HIGH;
  GPIO_InitStruct.Alternate = GPIO_AF12_FMC;
  HAL_GPIO_Init(GPIOE, &GPIO_InitStruct);

  /*Configure GPIO pins : G4_Pin G5_Pin B6_Pin B7_Pin */
  GPIO_InitStruct.Pin = G4_Pin|G5_Pin|B6_Pin|B7_Pin;
  GPIO_InitStruct.Mode = GPIO_MODE_AF_PP;
  GPIO_InitStruct.Pull = GPIO_NOPULL;
  GPIO_InitStruct.Speed = GPIO_SPEED_FREQ_LOW;
  GPIO_InitStruct.Alternate = GPIO_AF14_LTDC;
  HAL_GPIO_Init(GPIOB, &GPIO_InitStruct);

  /*Configure GPIO pins : OTG_HS_ID_Pin OTG_HS_DM_Pin OTG_HS_DP_Pin */
  GPIO_InitStruct.Pin = OTG_HS_ID_Pin|OTG_HS_DM_Pin|OTG_HS_DP_Pin;
  GPIO_InitStruct.Mode = GPIO_MODE_AF_PP;
  GPIO_InitStruct.Pull = GPIO_NOPULL;
  GPIO_InitStruct.Speed = GPIO_SPEED_FREQ_LOW;
  GPIO_InitStruct.Alternate = GPIO_AF12_OTG_HS_FS;
  HAL_GPIO_Init(GPIOB, &GPIO_InitStruct);

  /*Configure GPIO pin : VBUS_HS_Pin */
  GPIO_InitStruct.Pin = VBUS_HS_Pin;
  GPIO_InitStruct.Mode = GPIO_MODE_INPUT;
  GPIO_InitStruct.Pull = GPIO_NOPULL;
  HAL_GPIO_Init(VBUS_HS_GPIO_Port, &GPIO_InitStruct);

  /*Configure GPIO pins : D13_Pin D14_Pin D15_Pin D0_Pin
                           D1_Pin D2_Pin */
  GPIO_InitStruct.Pin = D13_Pin|D14_Pin|D15_Pin|D0_Pin
                          |D1_Pin|D2_Pin;
  GPIO_InitStruct.Mode = GPIO_MODE_AF_PP;
  GPIO_InitStruct.Pull = GPIO_NOPULL;
  GPIO_InitStruct.Speed = GPIO_SPEED_FREQ_VERY_HIGH;
  GPIO_InitStruct.Alternate = GPIO_AF12_FMC;
  HAL_GPIO_Init(GPIOD, &GPIO_InitStruct);

  /*Configure GPIO pin : TE_Pin */
  GPIO_InitStruct.Pin = TE_Pin;
  GPIO_InitStruct.Mode = GPIO_MODE_INPUT;
  GPIO_InitStruct.Pull = GPIO_NOPULL;
  HAL_GPIO_Init(TE_GPIO_Port, &GPIO_InitStruct);

  /*Configure GPIO pins : RDX_Pin WRX_DCX_Pin */
  GPIO_InitStruct.Pin = RDX_Pin|WRX_DCX_Pin;
  GPIO_InitStruct.Mode = GPIO_MODE_OUTPUT_PP;
  GPIO_InitStruct.Pull = GPIO_NOPULL;
  GPIO_InitStruct.Speed = GPIO_SPEED_FREQ_LOW;
  HAL_GPIO_Init(GPIOD, &GPIO_InitStruct);

  /*Configure GPIO pins : R7_Pin DOTCLK_Pin B3_Pin */
  GPIO_InitStruct.Pin = R7_Pin|DOTCLK_Pin|B3_Pin;
  GPIO_InitStruct.Mode = GPIO_MODE_AF_PP;
  GPIO_InitStruct.Pull = GPIO_NOPULL;
  GPIO_InitStruct.Speed = GPIO_SPEED_FREQ_LOW;
  GPIO_InitStruct.Alternate = GPIO_AF14_LTDC;
  HAL_GPIO_Init(GPIOG, &GPIO_InitStruct);

  /*Configure GPIO pins : HSYNC_Pin G6_Pin R2_Pin */
  GPIO_InitStruct.Pin = HSYNC_Pin|G6_Pin|R2_Pin;
  GPIO_InitStruct.Mode = GPIO_MODE_AF_PP;
  GPIO_InitStruct.Pull = GPIO_NOPULL;
  GPIO_InitStruct.Speed = GPIO_SPEED_FREQ_LOW;
  GPIO_InitStruct.Alternate = GPIO_AF14_LTDC;
  HAL_GPIO_Init(GPIOC, &GPIO_InitStruct);

  /*Configure GPIO pin : I2C3_SDA_Pin */
  GPIO_InitStruct.Pin = I2C3_SDA_Pin;
  GPIO_InitStruct.Mode = GPIO_MODE_AF_OD;
  GPIO_InitStruct.Pull = GPIO_NOPULL;
  GPIO_InitStruct.Speed = GPIO_SPEED_FREQ_LOW;
  GPIO_InitStruct.Alternate = GPIO_AF4_I2C3;
  HAL_GPIO_Init(I2C3_SDA_GPIO_Port, &GPIO_InitStruct);

  /*Configure GPIO pin : I2C3_SCL_Pin */
  GPIO_InitStruct.Pin = I2C3_SCL_Pin;
  GPIO_InitStruct.Mode = GPIO_MODE_AF_OD;
  GPIO_InitStruct.Pull = GPIO_NOPULL;
  GPIO_InitStruct.Speed = GPIO_SPEED_FREQ_LOW;
  GPIO_InitStruct.Alternate = GPIO_AF4_I2C3;
  HAL_GPIO_Init(I2C3_SCL_GPIO_Port, &GPIO_InitStruct);

  /*Configure GPIO pins : STLINK_RX_Pin STLINK_TX_Pin */
  GPIO_InitStruct.Pin = STLINK_RX_Pin|STLINK_TX_Pin;
  GPIO_InitStruct.Mode = GPIO_MODE_AF_PP;
  GPIO_InitStruct.Pull = GPIO_NOPULL;
  GPIO_InitStruct.Speed = GPIO_SPEED_FREQ_VERY_HIGH;
  GPIO_InitStruct.Alternate = GPIO_AF7_USART1;
  HAL_GPIO_Init(GPIOA, &GPIO_InitStruct);

  /*Configure GPIO pin : PD1 */
  GPIO_InitStruct.Pin = GPIO_PIN_1;
  GPIO_InitStruct.Mode = GPIO_MODE_IT_RISING_FALLING;
  GPIO_InitStruct.Pull = GPIO_NOPULL;
  HAL_GPIO_Init(GPIOD, &GPIO_InitStruct);

  /*Configure GPIO pins : G7_Pin B2_Pin */
  GPIO_InitStruct.Pin = G7_Pin|B2_Pin;
  GPIO_InitStruct.Mode = GPIO_MODE_AF_PP;
  GPIO_InitStruct.Pull = GPIO_NOPULL;
  GPIO_InitStruct.Speed = GPIO_SPEED_FREQ_LOW;
  GPIO_InitStruct.Alternate = GPIO_AF14_LTDC;
  HAL_GPIO_Init(GPIOD, &GPIO_InitStruct);

  /*Configure GPIO pins : G3_Pin B4_Pin */
  GPIO_InitStruct.Pin = G3_Pin|B4_Pin;
  GPIO_InitStruct.Mode = GPIO_MODE_AF_PP;
  GPIO_InitStruct.Pull = GPIO_NOPULL;
  GPIO_InitStruct.Speed = GPIO_SPEED_FREQ_LOW;
  GPIO_InitStruct.Alternate = GPIO_AF9_LTDC;
  HAL_GPIO_Init(GPIOG, &GPIO_InitStruct);

  /*Configure GPIO pins : LD3_Pin LD4_Pin */
  GPIO_InitStruct.Pin = LD3_Pin|LD4_Pin;
  GPIO_InitStruct.Mode = GPIO_MODE_OUTPUT_PP;
  GPIO_InitStruct.Pull = GPIO_NOPULL;
  GPIO_InitStruct.Speed = GPIO_SPEED_FREQ_LOW;
  HAL_GPIO_Init(GPIOG, &GPIO_InitStruct);

  /*Configure GPIO pins : SDCKE1_Pin SDNE1_Pin */
  GPIO_InitStruct.Pin = SDCKE1_Pin|SDNE1_Pin;
  GPIO_InitStruct.Mode = GPIO_MODE_AF_PP;
  GPIO_InitStruct.Pull = GPIO_NOPULL;
  GPIO_InitStruct.Speed = GPIO_SPEED_FREQ_VERY_HIGH;
  GPIO_InitStruct.Alternate = GPIO_AF12_FMC;
  HAL_GPIO_Init(GPIOB, &GPIO_InitStruct);

  /* EXTI interrupt init*/
  HAL_NVIC_SetPriority(EXTI1_IRQn, 0, 0);
  HAL_NVIC_EnableIRQ(EXTI1_IRQn);

}

void Error_Handler(void)
{
  __disable_irq();
  while (1)
  {
  }
}

/************************ (C) COPYRIGHT STMicroelectronics *****END OF FILE****/
